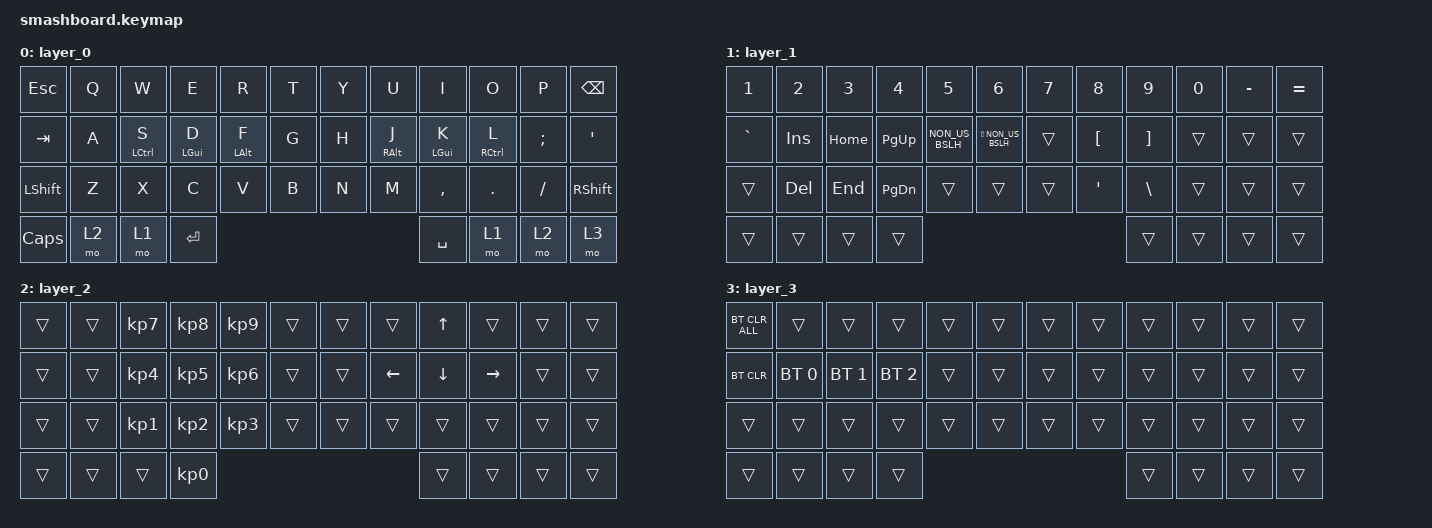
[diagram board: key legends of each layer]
#include <behaviors.dtsi>
#include <dt-bindings/zmk/bt.h>
#include <dt-bindings/zmk/keys.h>

&mt { flavor = "tap-preferred"; };

/ {
    keymap {
        compatible = "zmk,keymap";

        layer_0 {
            bindings = <
&kp ESC         &kp Q  &kp W               &kp E           &kp R           &kp T    &kp Y  &kp U            &kp I           &kp O                &kp P      &kp BSPC
&kp TAB         &kp A  &mt LEFT_CONTROL S  &mt LEFT_GUI D  &mt LEFT_ALT F  &kp G    &kp H  &mt RIGHT_ALT J  &mt LEFT_GUI K  &mt RIGHT_CONTROL L  &kp SEMI   &kp APOS
&kp LEFT_SHIFT  &kp Z  &kp X               &kp C           &kp V           &kp B    &kp N  &kp M            &kp COMMA       &kp DOT              &kp SLASH  &kp RSHFT
&kp CAPS        &mo 2  &mo 1               &kp ENTER                                                        &kp SPACE       &mo 1                &mo 2      &mo 3
            >;
        };

        layer_1 {
            bindings = <
&kp N1     &kp N2      &kp N3    &kp N4         &kp N5                    &kp N6                &kp N7    &kp N8    &kp N9    &kp N0  &kp MINUS  &kp EQUAL
&kp GRAVE  &kp INSERT  &kp HOME  &kp PAGE_UP    &kp NON_US_BSLH           &kp LS(NON_US_BSLH)   &trans    &kp LBKT  &kp RBKT  &trans  &trans     &trans
&trans     &kp DEL     &kp END   &kp PAGE_DOWN  &trans                    &trans                &trans    &kp APOS  &kp BSLH  &trans  &trans     &trans
&trans     &trans      &trans    &trans                                                                         &trans    &trans  &trans     &trans
            >;
        };

        layer_2 {
            bindings = <
&trans  &trans  &kp KP_NUMBER_7  &kp KP_NUMBER_8  &kp KP_NUMBER_9  &trans    &trans  &trans          &kp UP_ARROW    &trans           &trans  &trans
&trans  &trans  &kp KP_NUMBER_4  &kp KP_NUMBER_5  &kp KP_NUMBER_6  &trans    &trans  &kp LEFT_ARROW  &kp DOWN_ARROW  &kp RIGHT_ARROW  &trans  &trans
&trans  &trans  &kp KP_NUMBER_1  &kp KP_NUMBER_2  &kp KP_NUMBER_3  &trans    &trans  &trans          &trans          &trans           &trans  &trans
&trans  &trans  &trans           &kp KP_NUMBER_0                                                     &trans          &trans           &trans  &trans
            >;
        };

        layer_3 {
            bindings = <
&bt BT_CLR_ALL  &trans        &trans        &trans        &trans  &trans    &trans  &trans  &trans  &trans  &trans  &trans
&bt BT_CLR      &bt BT_SEL 0  &bt BT_SEL 1  &bt BT_SEL 2  &trans  &trans    &trans  &trans  &trans  &trans  &trans  &trans
&trans          &trans        &trans        &trans        &trans  &trans    &trans  &trans  &trans  &trans  &trans  &trans
&trans          &trans        &trans        &trans                                          &trans  &trans  &trans  &trans
            >;
        };
    };
};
